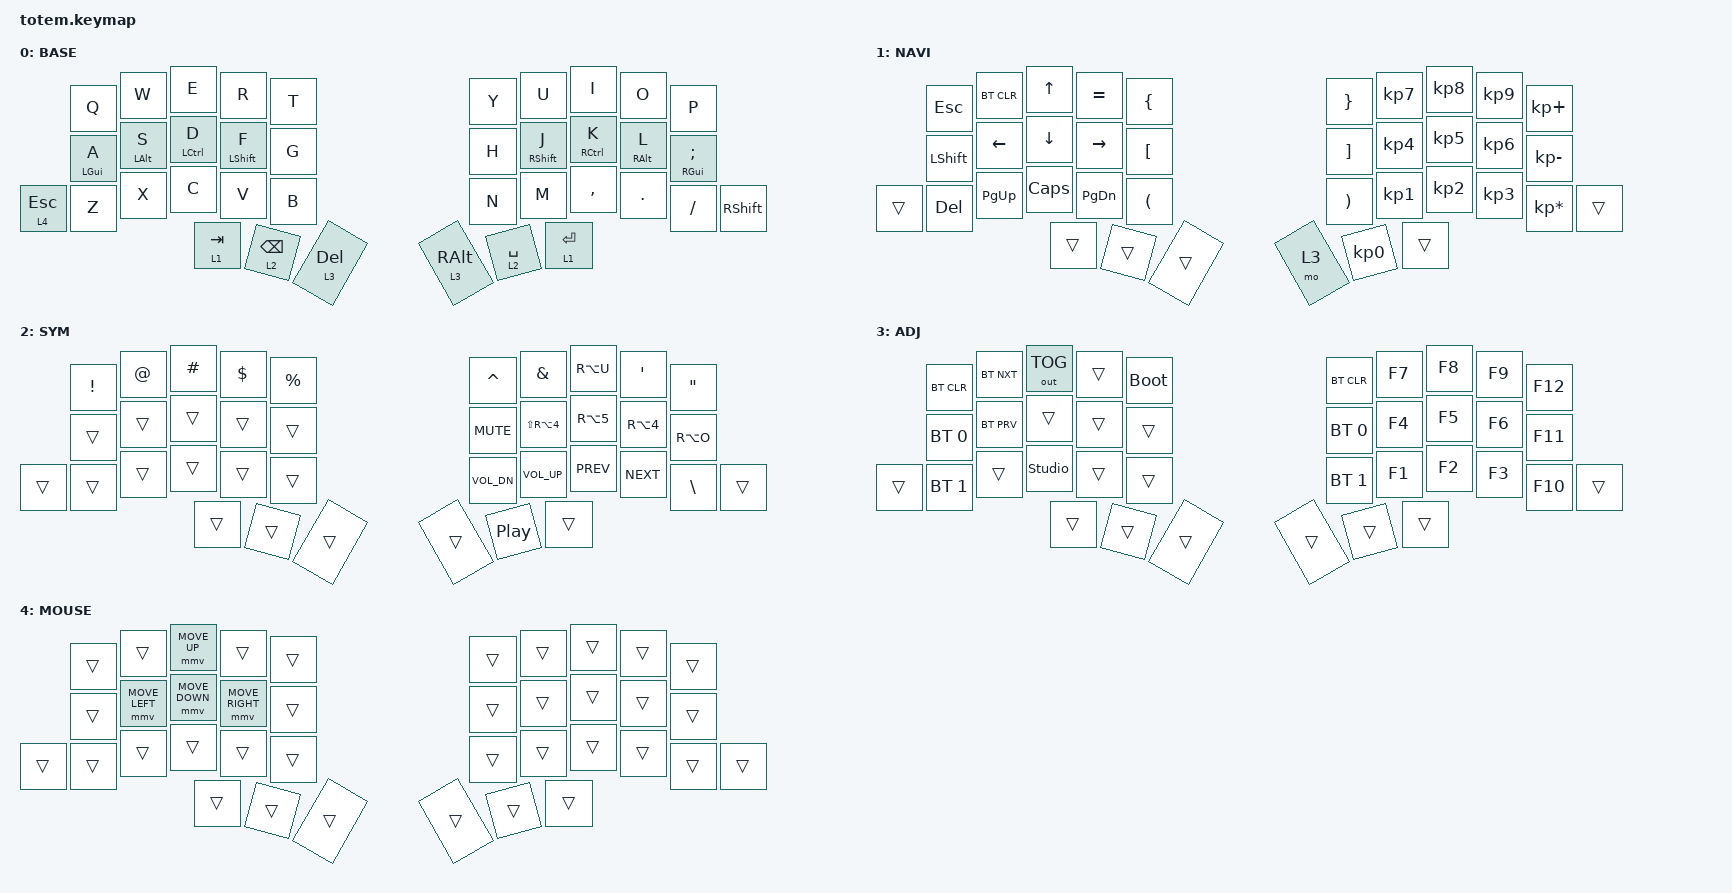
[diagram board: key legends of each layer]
#include <behaviors.dtsi>
#include <dt-bindings/zmk/bt.h>
#include <dt-bindings/zmk/keys.h>
#include <dt-bindings/zmk/outputs.h>
#include <dt-bindings/zmk/mouse.h>

&mt {
    quick-tap-ms = <100>;
    global-quick-tap;
    flavor = "tap-preferred";
    tapping-term-ms = <170>;
};

/ {
    combos {
        compatible = "zmk,combos";

        combo_esc {
            timeout-ms = <51>;
            key-positions = <0 1>;
            bindings = <&kp ESC>;
        };
    };

    keymap {
        compatible = "zmk,keymap";

        base_layer {
            label = "BASE";
            bindings = <
           &kp Q       &kp W       &kp E        &kp R            &kp T           &kp Y            &kp U        &kp I        &kp O       &kp P
           &mt LGUI A  &mt LALT S  &mt LCTRL D  &mt LSHFT F      &kp G           &kp H            &mt RSHFT J  &mt RCTRL K  &mt RALT L  &mt RGUI SEMICOLON
&lt 4 ESC  &kp Z       &kp X       &kp C        &kp V            &kp B           &kp N            &kp M        &kp COMMA    &kp DOT     &kp FSLH            &kp RIGHT_SHIFT
                                   &lt 1 TAB    &lt 2 BACKSPACE  &lt 3 DELETE    &lt 3 RIGHT_ALT  &lt 2 SPACE  &lt 1 ENTER
            >;
        };

        nav_layer {
            label = "NAVI";
            bindings = <
        &kp ESC    &bt BT_CLR  &kp UP    &kp EQUAL  &kp LBRC    &kp RBRC  &kp KP_N7  &kp KP_N8  &kp KP_N9  &kp KP_PLUS
        &kp LSHFT  &kp LEFT    &kp DOWN  &kp RIGHT  &kp LBKT    &kp RBKT  &kp KP_N4  &kp KP_N5  &kp KP_N6  &kp KP_MINUS
&trans  &kp DEL    &kp PG_UP   &kp CAPS  &kp PG_DN  &kp LPAR    &kp RPAR  &kp KP_N1  &kp KP_N2  &kp KP_N3  &kp KP_MULTIPLY  &trans
                               &trans    &trans     &trans      &mo 3     &kp KP_N0  &trans
            >;
        };

        sim_layer {
            label = "SYM";
            bindings = <
        &kp EXCL  &kp AT  &kp HASH  &kp DLLR  &kp PRCNT    &kp CARET     &kp AMPS        &kp RA(U)   &kp SQT     &kp DQT
        &trans    &trans  &trans    &trans    &trans       &kp C_MUTE    &kp LS(RA(N4))  &kp RA(N5)  &kp RA(N4)  &kp RA(O)
&trans  &trans    &trans  &trans    &trans    &trans       &kp C_VOL_DN  &kp C_VOL_UP    &kp C_PREV  &kp C_NEXT  &kp BSLH   &trans
                          &trans    &trans    &trans       &trans        &kp C_PP        &trans
            >;
        };

        adjust_layer {
            label = "ADJ";
            bindings = <
        &bt BT_CLR    &bt BT_NXT  &out OUT_TOG    &trans  &bootloader    &bt BT_CLR    &kp F7  &kp F8  &kp F9  &kp F12
        &bt BT_SEL 0  &bt BT_PRV  &trans          &trans  &trans         &bt BT_SEL 0  &kp F4  &kp F5  &kp F6  &kp F11
&trans  &bt BT_SEL 1  &trans      &studio_unlock  &trans  &trans         &bt BT_SEL 1  &kp F1  &kp F2  &kp F3  &kp F10  &trans
                                  &trans          &trans  &trans         &trans        &trans  &trans
            >;
        };

        mouse_layer {
            bindings = <
        &trans  &trans          &mmv MOVE_UP    &trans           &trans    &trans  &trans  &trans  &trans  &trans
        &trans  &mmv MOVE_LEFT  &mmv MOVE_DOWN  &mmv MOVE_RIGHT  &trans    &trans  &trans  &trans  &trans  &trans
&trans  &trans  &trans          &trans          &trans           &trans    &trans  &trans  &trans  &trans  &trans  &trans
                                &trans          &trans           &trans    &trans  &trans  &trans
            >;

            label = "MOUSE";
        };
    };
};
